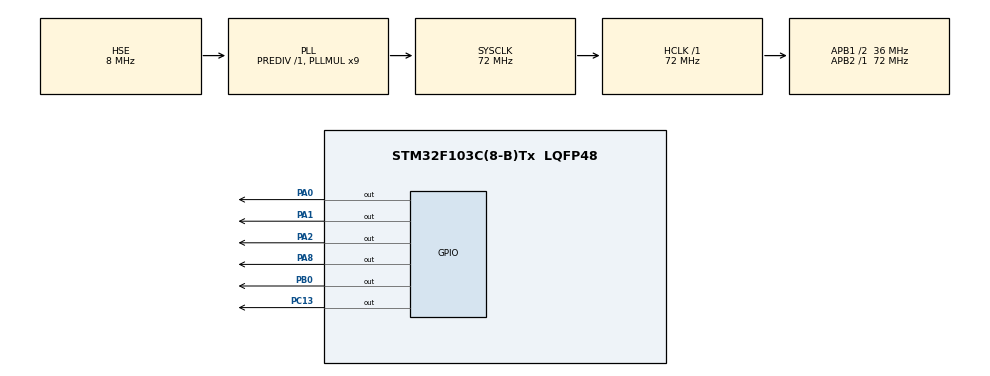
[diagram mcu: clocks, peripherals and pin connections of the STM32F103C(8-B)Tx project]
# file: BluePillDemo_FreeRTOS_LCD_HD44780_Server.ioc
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FREERTOS.Queues01=lcdQueue,6,lcd_packet_t,0,Static,lcdBuffer,lcdControlBlock
FREERTOS.Tasks01=main,24,128,mainTask,Default,NULL,Static,mainBuffer,mainControlBlock;lcd,8,128,lcdTask,Default,NULL,Static,lcdTaskBuffer,lcdTaskControlBlock
Mcu.Family=STM32F1
Mcu.Name=STM32F103C(8-B)Tx
Mcu.Package=LQFP48
NVIC.PriorityGroup=NVIC_PRIORITYGROUP_4
NVIC.TIM1_UP_IRQn=true\:0\:0\:false\:false\:true\:false\:false\:true
NVIC.TimeBase=TIM1_UP_IRQn
NVIC.TimeBaseIP=TIM1
PA0-WKUP.Signal=GPIO_Output
PA1.Signal=GPIO_Output
PA13.Mode=Serial_Wire
PA13.Signal=SYS_JTMS-SWDIO
PA14.Mode=Serial_Wire
PA14.Signal=SYS_JTCK-SWCLK
PA2.Signal=GPIO_Output
PA8.Signal=GPIO_Output
PB0.Signal=GPIO_Output
PC13-TAMPER-RTC.Signal=GPIO_Output
PC14-OSC32_IN.Mode=LSE-External-Oscillator
PC14-OSC32_IN.Signal=RCC_OSC32_IN
PC15-OSC32_OUT.Mode=LSE-External-Oscillator
PC15-OSC32_OUT.Signal=RCC_OSC32_OUT
PD0-OSC_IN.Mode=HSE-External-Oscillator
PD0-OSC_IN.Signal=RCC_OSC_IN
PD1-OSC_OUT.Mode=HSE-External-Oscillator
PD1-OSC_OUT.Signal=RCC_OSC_OUT
ProjectManager.HeapSize=0x200
ProjectManager.StackSize=0x400
ProjectManager.TargetToolchain=STM32CubeIDE
RCC.AHBFreq_Value=72000000
RCC.APB1CLKDivider=RCC_HCLK_DIV2
RCC.APB1Freq_Value=36000000
RCC.APB1TimFreq_Value=72000000
RCC.APB2Freq_Value=72000000
RCC.APB2TimFreq_Value=72000000
RCC.HCLKFreq_Value=72000000
RCC.PLLMUL=RCC_PLL_MUL9
RCC.PLLSourceVirtual=RCC_PLLSOURCE_HSE
RCC.SYSCLKFreq_VALUE=72000000
RCC.SYSCLKSource=RCC_SYSCLKSOURCE_PLLCLK
RCC.USBFreq_Value=72000000
VP_FREERTOS_VS_CMSIS_V2.Mode=CMSIS_V2
VP_SYS_VS_tim1.Mode=TIM1
board=custom

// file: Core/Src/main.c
/* USER CODE BEGIN Header */
/**
  ******************************************************************************
  * @file           : main.c
  * @brief          : Main program body
  ******************************************************************************
  * @attention
  *
  * <h2><center>&copy; Copyright (c) 2020 STMicroelectronics.
  * All rights reserved.</center></h2>
  *
  * This software component is licensed by ST under BSD 3-Clause license,
  * the "License"; You may not use this file except in compliance with the
  * License. You may obtain a copy of the License at:
  *                        opensource.org/licenses/BSD-3-Clause
  *
  ******************************************************************************
  */
/* USER CODE END Header */

#include "main.h"
#include "cmsis_os.h"

/* USER CODE BEGIN Includes */
#include "lcd.h"

/* USER CODE END Includes */

typedef StaticTask_t osStaticThreadDef_t;
typedef StaticQueue_t osStaticMessageQDef_t;
osThreadId_t mainHandle;
uint32_t mainBuffer[ 128 ];
osStaticThreadDef_t mainControlBlock;
osThreadId_t lcdHandle;
uint32_t lcdTaskBuffer[ 128 ];
osStaticThreadDef_t lcdTaskControlBlock;
osMessageQueueId_t lcdQueueHandle;
uint8_t lcdBuffer[ 6 * sizeof( lcd_packet_t ) ];
osStaticMessageQDef_t lcdControlBlock;
/* USER CODE BEGIN PV */
osEventFlagsId_t modemTaskStartedEventHandle;

static const uint8_t custom_characters[] = {0x04, 0x0a, 0x04, 0x00, 0x00, 0x00, 0x00, 0x00,
												0x0e, 0x06, 0x0a, 0x10, 0x10, 0x11, 0x0e, 0x00,
												0x04, 0x0e, 0x1f, 0x04, 0x04, 0x1f, 0x0e, 0x04,
												0x04, 0x0e, 0x1f, 0x04, 0x04, 0x04, 0x04, 0x04,
												0x04, 0x04, 0x04, 0x04, 0x04, 0x1f, 0x0e, 0x04};
/* USER CODE END PV */

void SystemClock_Config(void);
static void MX_GPIO_Init(void);
void mainTask(void *argument);
void lcdTask(void *argument);

int main(void)
{

  /* MCU Configuration--------------------------------------------------------*/

  /* Reset of all peripherals, Initializes the Flash interface and the Systick. */
  HAL_Init();

  /* Configure the system clock */
  SystemClock_Config();

  /* Initialize all configured peripherals */
  MX_GPIO_Init();
  /* USER CODE BEGIN 2 */
  lcd_init();
  for (uint8_t i = 0U; i < sizeof(custom_characters) / CG_CHARACTER_SIZE_BYTES; i++)
  {
  	lcd_set_cg_character(i + 1U, &(custom_characters[i * CG_CHARACTER_SIZE_BYTES]));
  }

  /* USER CODE END 2 */

  osKernelInitialize();

  /* USER CODE BEGIN RTOS_MUTEX */
  /* add mutexes, ... */
  modemTaskStartedEventHandle = osEventFlagsNew(NULL);
  /* USER CODE END RTOS_MUTEX */

  /* Create the queue(s) */
  /* definition and creation of lcdQueue */
  const osMessageQueueAttr_t lcdQueue_attributes = {
    .name = "lcdQueue",
    .cb_mem = &lcdControlBlock,
    .cb_size = sizeof(lcdControlBlock),
    .mq_mem = &lcdBuffer,
    .mq_size = sizeof(lcdBuffer)
  };
  lcdQueueHandle = osMessageQueueNew (6, sizeof(lcd_packet_t), &lcdQueue_attributes);

  /* Create the thread(s) */
  /* definition and creation of main */
  const osThreadAttr_t main_attributes = {
    .name = "main",
    .stack_mem = &mainBuffer[0],
    .stack_size = sizeof(mainBuffer),
    .cb_mem = &mainControlBlock,
    .cb_size = sizeof(mainControlBlock),
    .priority = (osPriority_t) osPriorityNormal,
  };
  mainHandle = osThreadNew(mainTask, NULL, &main_attributes);

  /* definition and creation of lcd */
  const osThreadAttr_t lcd_attributes = {
    .name = "lcd",
    .stack_mem = &lcdTaskBuffer[0],
    .stack_size = sizeof(lcdTaskBuffer),
    .cb_mem = &lcdTaskControlBlock,
    .cb_size = sizeof(lcdTaskControlBlock),
    .priority = (osPriority_t) osPriorityLow,
  };
  lcdHandle = osThreadNew(lcdTask, NULL, &lcd_attributes);

  /* Start scheduler */
  osKernelStart();

  /* We should never get here as control is now taken by the scheduler */

  /* Infinite loop */
  while (1)
  {

  }
}

void SystemClock_Config(void)
{
  RCC_OscInitTypeDef RCC_OscInitStruct = {0};
  RCC_ClkInitTypeDef RCC_ClkInitStruct = {0};

  /** Initializes the CPU, AHB and APB busses clocks
  */
  RCC_OscInitStruct.OscillatorType = RCC_OSCILLATORTYPE_HSE;
  RCC_OscInitStruct.HSEState = RCC_HSE_ON;
  RCC_OscInitStruct.HSEPredivValue = RCC_HSE_PREDIV_DIV1;
  RCC_OscInitStruct.HSIState = RCC_HSI_ON;
  RCC_OscInitStruct.PLL.PLLState = RCC_PLL_ON;
  RCC_OscInitStruct.PLL.PLLSource = RCC_PLLSOURCE_HSE;
  RCC_OscInitStruct.PLL.PLLMUL = RCC_PLL_MUL9;
  if (HAL_RCC_OscConfig(&RCC_OscInitStruct) != HAL_OK)
  {
    Error_Handler();
  }
  /** Initializes the CPU, AHB and APB busses clocks
  */
  RCC_ClkInitStruct.ClockType = RCC_CLOCKTYPE_HCLK|RCC_CLOCKTYPE_SYSCLK
                              |RCC_CLOCKTYPE_PCLK1|RCC_CLOCKTYPE_PCLK2;
  RCC_ClkInitStruct.SYSCLKSource = RCC_SYSCLKSOURCE_PLLCLK;
  RCC_ClkInitStruct.AHBCLKDivider = RCC_SYSCLK_DIV1;
  RCC_ClkInitStruct.APB1CLKDivider = RCC_HCLK_DIV2;
  RCC_ClkInitStruct.APB2CLKDivider = RCC_HCLK_DIV1;

  if (HAL_RCC_ClockConfig(&RCC_ClkInitStruct, FLASH_LATENCY_2) != HAL_OK)
  {
    Error_Handler();
  }
}

static void MX_GPIO_Init(void)
{
  GPIO_InitTypeDef GPIO_InitStruct = {0};

  /* GPIO Ports Clock Enable */
  __HAL_RCC_GPIOC_CLK_ENABLE();
  __HAL_RCC_GPIOD_CLK_ENABLE();
  __HAL_RCC_GPIOA_CLK_ENABLE();
  __HAL_RCC_GPIOB_CLK_ENABLE();

  /*Configure GPIO pin Output Level */
  HAL_GPIO_WritePin(GPIOC, GPIO_PIN_13, GPIO_PIN_RESET);

  /*Configure GPIO pin Output Level */
  HAL_GPIO_WritePin(GPIOA, GPIO_PIN_0|GPIO_PIN_1|GPIO_PIN_2|GPIO_PIN_8, GPIO_PIN_RESET);

  /*Configure GPIO pin Output Level */
  HAL_GPIO_WritePin(GPIOB, GPIO_PIN_0, GPIO_PIN_RESET);

  /*Configure GPIO pin : PC13 */
  GPIO_InitStruct.Pin = GPIO_PIN_13;
  GPIO_InitStruct.Mode = GPIO_MODE_OUTPUT_PP;
  GPIO_InitStruct.Pull = GPIO_NOPULL;
  GPIO_InitStruct.Speed = GPIO_SPEED_FREQ_LOW;
  HAL_GPIO_Init(GPIOC, &GPIO_InitStruct);

  /*Configure GPIO pins : PA0 PA1 PA2 PA8 */
  GPIO_InitStruct.Pin = GPIO_PIN_0|GPIO_PIN_1|GPIO_PIN_2|GPIO_PIN_8;
  GPIO_InitStruct.Mode = GPIO_MODE_OUTPUT_PP;
  GPIO_InitStruct.Pull = GPIO_NOPULL;
  GPIO_InitStruct.Speed = GPIO_SPEED_FREQ_LOW;
  HAL_GPIO_Init(GPIOA, &GPIO_InitStruct);

  /*Configure GPIO pin : PB0 */
  GPIO_InitStruct.Pin = GPIO_PIN_0;
  GPIO_InitStruct.Mode = GPIO_MODE_OUTPUT_PP;
  GPIO_InitStruct.Pull = GPIO_NOPULL;
  GPIO_InitStruct.Speed = GPIO_SPEED_FREQ_LOW;
  HAL_GPIO_Init(GPIOB, &GPIO_InitStruct);

}

void mainTask(void *argument)
{
  /* USER CODE BEGIN 5 */

  // wait for lcd task to start
  osEventFlagsWait(modemTaskStartedEventHandle, 0x00000001U, osFlagsWaitAny, osWaitForever);

  /* Infinite loop */
  for(;;)
  {
	lcd_clear();
	osDelay(1000U);

	lcd_puts(0U, 0U, "fred");
	lcd_puts(1U, 0U, "\x01\x02\x03\x04\x05");
	osDelay(1000U);
  }
  /* USER CODE END 5 */
}

void lcdTask(void *argument)
{
  /* USER CODE BEGIN lcdTask */
  lcd_packet_t lcd_packet;
  uint8_t i;

  // signal main task that this thread has started
  osEventFlagsSet(modemTaskStartedEventHandle, 0x00000001U);

  /* Infinite loop */
  for (;;)
  {
	osMessageQueueGet(lcdQueueHandle, &lcd_packet, NULL, osWaitForever);

	switch (lcd_packet.command)
	{
	case CLEAR_SCREEN:
		lcd_write_command(0x01U);
		break;

	case WRITE_TEXT:
		if (lcd_packet.row == 0U)
		{
			lcd_write_command(0x80U + lcd_packet.column);
		}
		else
		{
			lcd_write_command(0xc0U + lcd_packet.column);
		}

		for (i = 0U; i < lcd_packet.length; i++)
		{
			lcd_write_data(lcd_packet.text[i]);
		}
		break;
	}
  }
  /* USER CODE END lcdTask */
}

void HAL_TIM_PeriodElapsedCallback(TIM_HandleTypeDef *htim)
{
  if (htim->Instance == TIM1) {
    HAL_IncTick();
  }
}

void Error_Handler(void)
{
}

/************************ (C) COPYRIGHT STMicroelectronics *****END OF FILE****/
